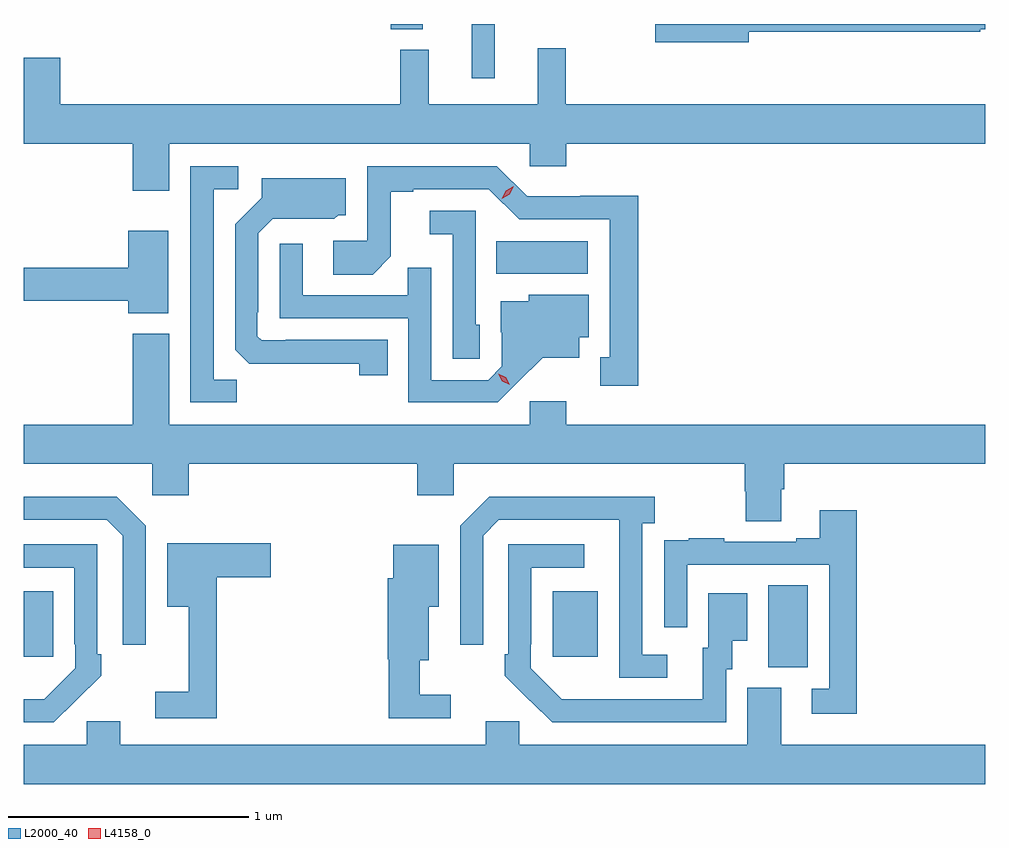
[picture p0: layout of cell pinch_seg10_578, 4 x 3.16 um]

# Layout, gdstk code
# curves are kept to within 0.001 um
import gdstk
lib = gdstk.Library(unit=1e-6, precision=1e-09)
def R(c, l, rs):  # rectangles x0, y0, x1, y1
    for r in rs: c.add(gdstk.rectangle(r[:2], r[2:], *l))
def P(c, l, *ps):  # polygons
    for p in ps: c.add(gdstk.Polygon(p, *l))
L2000_40 = (2000, 40)
L4158_0 = (4158, 0)

pinch_seg10_578 = lib.new_cell('pinch_seg10_578')
R(pinch_seg10_578, L2000_40, [(391.802,1270.165,391.966,1270.508), (388.704,1270.209,388.825,1270.483), (390.905,1270.209,391.093,1270.483), (390.67,1271.804,391.051,1271.938), (390.567,1272.618,390.664,1272.843), (390.23,1272.821,390.364,1272.843)])
P(pinch_seg10_578, L2000_40, [(391.72,1272.81),(392.684,1272.81),(392.684,1272.822),(392.704,1272.822),(392.704,1272.843),(391.332,1272.843),(391.332,1272.767),(391.72,1272.767)],
  [(388.856,1272.703),(388.704,1272.703),(388.704,1272.344),(389.156,1272.344),(389.156,1272.15),(389.308,1272.15),(389.308,1272.344),(390.81,1272.344),(390.81,1272.251),(390.962,1272.251),(390.962,1272.344),(392.704,1272.344),(392.704,1272.508),(390.959,1272.508),(390.959,1272.742),(390.842,1272.742),(390.842,1272.508),(390.389,1272.508),(390.389,1272.736),(390.271,1272.736),(390.271,1272.508),(388.856,1272.508)],
  [(391.261,1272.128),(391.02,1272.128),(391.02,1272.126),(390.798,1272.126),(390.672,1272.252),(390.132,1272.252),(390.132,1271.94),(389.991,1271.94),(389.991,1271.8),(390.155,1271.8),(390.231,1271.876),(390.231,1272.144),(390.325,1272.144),(390.325,1272.156),(390.639,1272.156),(390.765,1272.03),(391.142,1272.03),(391.142,1271.457),(391.103,1271.457),(391.103,1271.337),(391.261,1271.337)],
  [(389.589,1271.363),(389.493,1271.363),(389.493,1272.156),(389.596,1272.156),(389.596,1272.252),(389.397,1272.252),(389.397,1271.268),(389.589,1271.268)],
  [(390.218,1271.529),(389.794,1271.529),(389.794,1271.526),(389.694,1271.526),(389.676,1271.544),(389.676,1271.644),(389.679,1271.644),(389.679,1271.973),(389.739,1272.033),(389.996,1272.032),(390.012,1272.048),(390.043,1272.048),(390.043,1272.202),(389.693,1272.202),(389.693,1272.12),(389.583,1272.01),(389.583,1271.488),(389.642,1271.429),(390.1,1271.428),(390.1,1271.382),(390.218,1271.382)],
  [(390.6,1271.592),(390.585,1271.592),(390.585,1272.066),(390.393,1272.066),(390.393,1271.969),(390.489,1271.969),(390.489,1271.449),(390.6,1271.449)],
  [(389.305,1271.983),(389.138,1271.983),(389.138,1271.828),(388.704,1271.828),(388.704,1271.692),(389.138,1271.692),(389.138,1271.639),(389.305,1271.639)],
  [(390.76,1271.351),(390.863,1271.453),(391.015,1271.453),(391.015,1271.54),(391.054,1271.54),(391.054,1271.716),(390.804,1271.716),(390.804,1271.689),(390.689,1271.689),(390.689,1271.56),(390.693,1271.56),(390.693,1271.418),(390.636,1271.361),(390.399,1271.361),(390.399,1271.828),(390.301,1271.828),(390.301,1271.715),(389.865,1271.715),(389.865,1271.929),(389.769,1271.929),(389.769,1271.619),(390.303,1271.619),(390.303,1271.268),(390.676,1271.268)],
  [(391.855,1270.906),(391.868,1270.906),(391.868,1271.012),(392.704,1271.012),(392.704,1271.176),(390.962,1271.176),(390.962,1271.272),(390.81,1271.272),(390.81,1271.176),(389.308,1271.176),(389.308,1271.554),(389.156,1271.554),(389.156,1271.176),(388.704,1271.176),(388.704,1271.012),(389.238,1271.012),(389.238,1270.881),(389.39,1270.881),(389.39,1271.012),(390.341,1271.012),(390.341,1270.881),(390.492,1270.881),(390.492,1271.012),(391.703,1271.012),(391.703,1270.899),(391.708,1270.899),(391.708,1270.774),(391.855,1270.774)],
  [(389.211,1270.755),(389.09,1270.876),(388.704,1270.876),(388.704,1270.779),(389.049,1270.779),(389.115,1270.713),(389.115,1270.26),(389.211,1270.26)],
  [(391.381,1270.218),(391.278,1270.218),(391.278,1270.766),(391.33,1270.766),(391.33,1270.876),(390.64,1270.876),(390.519,1270.755),(390.519,1270.26),(390.615,1270.26),(390.615,1270.713),(390.681,1270.779),(391.181,1270.779),(391.182,1270.122),(391.381,1270.122)],
  [(392.171,1270.819),(392.015,1270.819),(392.015,1270.702),(391.919,1270.702),(391.919,1270.689),(391.619,1270.689),(391.619,1270.702),(391.471,1270.702),(391.471,1270.695),(391.369,1270.695),(391.369,1270.586),(391.368,1270.586),(391.368,1270.332),(391.464,1270.332),(391.464,1270.593),(392.055,1270.593),(392.055,1270.077),(391.983,1270.077),(391.983,1269.972),(392.171,1269.972)],
  [(389.507,1270.541),(389.731,1270.541),(389.731,1270.683),(389.3,1270.683),(389.3,1270.418),(389.39,1270.418),(389.39,1270.063),(389.25,1270.063),(389.25,1269.954),(389.507,1269.954)],
  [(391.626,1270.158),(391.651,1270.158),(391.651,1270.277),(391.714,1270.277),(391.714,1270.474),(391.553,1270.474),(391.553,1270.248),(391.529,1270.248),(391.529,1270.032),(390.942,1270.033),(390.813,1270.161),(390.813,1270.261),(390.816,1270.261),(390.816,1270.581),(391.036,1270.581),(391.036,1270.677),(390.72,1270.677),(390.72,1270.219),(390.705,1270.219),(390.705,1270.131),(390.902,1269.936),(391.626,1269.936)],
  [(388.919,1270.027),(388.92,1270.026),(389.025,1270.131),(389.025,1270.219),(389.01,1270.219),(389.01,1270.677),(388.704,1270.677),(388.704,1270.581),(388.914,1270.581),(388.914,1270.261),(388.917,1270.261),(388.917,1270.161),(388.789,1270.033),(388.704,1270.033),(388.704,1269.936),(388.828,1269.936)],
  [(390.481,1270.051),(390.352,1270.051),(390.352,1270.196),(390.388,1270.196),(390.388,1270.418),(390.43,1270.418),(390.43,1270.675),(390.242,1270.675),(390.242,1270.536),(390.218,1270.536),(390.218,1270.2),(390.223,1270.2),(390.223,1269.954),(390.481,1269.954)],
  [(392.704,1269.844),(391.855,1269.844),(391.855,1270.08),(391.715,1270.08),(391.715,1269.844),(390.765,1269.844),(390.765,1269.942),(390.626,1269.942),(390.626,1269.844),(389.104,1269.844),(389.104,1269.942),(388.965,1269.942),(388.965,1269.844),(388.704,1269.844),(388.704,1269.68),(392.704,1269.68)])
P(pinch_seg10_578, L4158_0, [(390.692,1272.116),(390.692,1272.116),(390.71,1272.148),(390.742,1272.167),(390.742,1272.167),(390.742,1272.167),(390.725,1272.134),(390.693,1272.116)],
  [(390.726,1271.341),(390.695,1271.357),(390.678,1271.387),(390.678,1271.387),(390.678,1271.387),(390.709,1271.372),(390.726,1271.342),(390.726,1271.341)])

lib.write_gds('pinch_seg10_578.gds')
